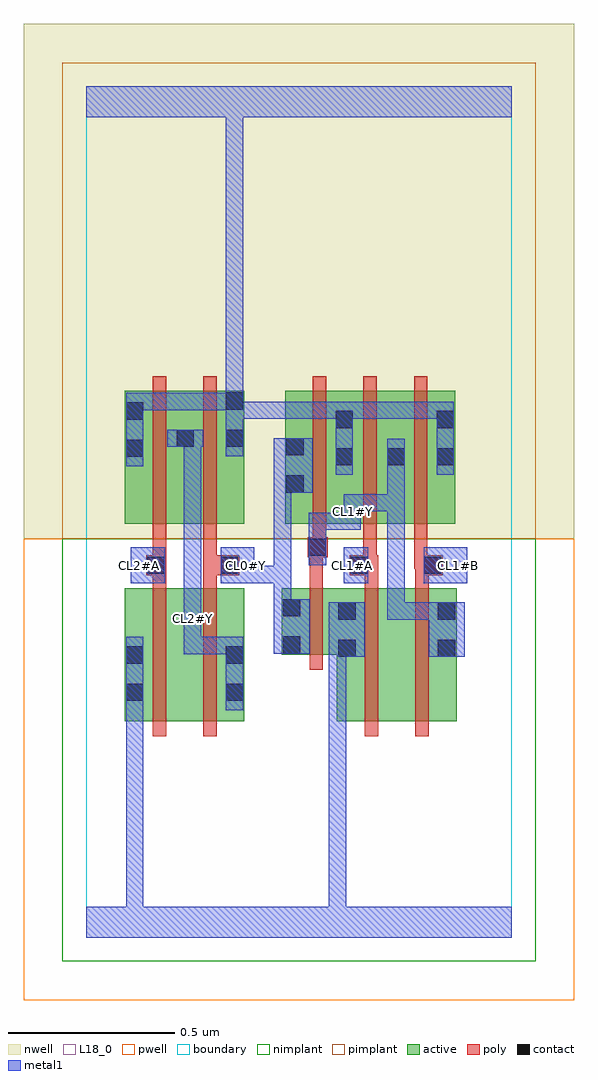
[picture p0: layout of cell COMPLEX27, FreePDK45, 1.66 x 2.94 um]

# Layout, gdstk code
import gdstk
lib = gdstk.Library(unit=1e-6, precision=1e-09)
def R(c, l, rs):  # rectangles x0, y0, x1, y1
    for r in rs: c.add(gdstk.rectangle(r[:2], r[2:], *l))
def A(c, l, x, y, w, h, nx, ny, dx, dy):  # array of equal rectangles
    R(c, l, [(x+i*dx, y+j*dy, x+i*dx+w, y+j*dy+h) for i in range(nx) for j in range(ny)])
active = (1, 0)
pwell = (2, 0)
nwell = (3, 0)
nimplant = (4, 0)
pimplant = (5, 0)
poly = (9, 0)
contact = (10, 0)
metal1 = (11, 0)
L18_0 = (18, 0)
boundary = (235, 0)

complex27 = lib.new_cell('COMPLEX27')
R(complex27, active, [(0.116,0.65,0.296,1.05), (0.116,0.65,0.176,1.05), (0.296,0.65,0.476,1.05), (0.416,0.65,0.476,1.05), (0.754,0.65,0.934,1.05), (0.934,0.65,1.114,1.05), (1.054,0.756,1.114,1.05), (0.754,0.84,0.814,1.028), (0.588,0.85,0.814,1.05), (0.588,0.85,0.648,1.05), (0.116,1.244,0.176,1.644), (0.116,1.244,0.328,1.644), (0.268,1.244,0.476,1.644), (0.416,1.244,0.476,1.644), (0.598,1.244,0.658,1.644), (0.598,1.244,0.806,1.644), (0.746,1.244,0.806,1.644), (0.746,1.244,0.962,1.644), (0.902,1.244,0.962,1.644), (0.902,1.244,1.11,1.644), (1.05,1.244,1.11,1.644), (0.268,1.472,0.328,1.644)])
R(complex27, pwell, [(-0.188,-0.188,1.468,1.2)])
R(complex27, nwell, [(-0.188,1.2,1.468,2.748)])
R(complex27, nimplant, [(-0.072,-0.072,1.352,1.2)])
R(complex27, pimplant, [(-0.072,1.2,1.352,2.632)])
A(complex27, poly, 0.682, 1.2, 0.04, 0.488, 3, 1, 0.152, 0)
R(complex27, poly, [(0.2,0.606,0.24,1.094), (0.352,0.606,0.392,1.094), (0.838,0.606,0.878,1.094), (0.99,0.606,1.03,1.094), (0.672,0.806,0.712,1.094), (0.2,1.054,0.24,1.13), (0.352,1.054,0.392,1.13), (0.672,1.054,0.712,1.184), (0.838,1.054,0.878,1.13), (0.99,1.054,1.03,1.13), (0.18,1.09,0.24,1.15), (0.352,1.09,0.46,1.15), (0.792,1.09,0.878,1.15), (0.99,1.09,1.072,1.15), (0.2,1.11,0.24,1.24), (0.2,1.11,0.24,1.15), (0.2,1.11,0.24,1.15), (0.352,1.11,0.392,1.24), (0.352,1.11,0.392,1.15), (0.352,1.11,0.392,1.15), (0.834,1.11,0.874,1.24), (0.834,1.11,0.874,1.15), (0.834,1.11,0.874,1.15), (0.986,1.11,1.026,1.24), (0.986,1.11,1.03,1.15), (0.99,1.11,1.03,1.15), (0.666,1.144,0.726,1.204), (0.672,1.144,0.712,1.184), (0.672,1.144,0.712,1.184), (0.682,1.164,0.722,1.24), (0.2,1.2,0.24,1.688), (0.352,1.2,0.392,1.688)])
R(complex27, contact, [(0.12,0.712,0.172,0.764), (0.42,0.712,0.472,0.764), (0.12,0.824,0.172,0.876), (0.42,0.824,0.472,0.876), (0.758,0.844,0.81,0.896), (1.058,0.844,1.11,0.896), (0.592,0.854,0.644,0.906), (0.758,0.956,0.81,1.008), (1.058,0.956,1.11,1.008), (0.592,0.966,0.644,1.018), (0.184,1.094,0.236,1.146), (0.404,1.094,0.456,1.146), (0.796,1.094,0.848,1.146), (1.016,1.094,1.068,1.146), (0.67,1.148,0.722,1.2), (0.602,1.338,0.654,1.39), (0.75,1.42,0.802,1.472), (0.906,1.42,0.958,1.472), (1.054,1.42,1.106,1.472), (0.12,1.446,0.172,1.498), (0.602,1.45,0.654,1.502), (0.272,1.476,0.324,1.528), (0.42,1.476,0.472,1.528), (0.75,1.532,0.802,1.584), (1.054,1.532,1.106,1.584), (0.12,1.558,0.172,1.61), (0.42,1.588,0.472,1.64)])
R(complex27, metal1, [(0,0,1.28,0.092), (0.12,0.04,0.172,0.092), (0.12,0.04,0.172,0.092), (0.12,0.04,0.172,0.092), (0.12,0.04,0.172,0.092), (0.12,0.04,0.172,0.092), (0.12,0.04,0.172,0.092), (0.12,0.04,0.172,0.092), (0.12,0.04,0.172,0.092), (0.12,0.04,0.172,0.092), (0.12,0.04,0.172,0.092), (0.12,0.04,0.172,0.092), (0.12,0.04,0.172,0.092), (0.12,0.04,0.172,0.736), (0.73,0.04,0.782,0.092), (0.73,0.04,0.782,0.092), (0.73,0.04,0.782,0.092), (0.73,0.04,0.782,0.092), (0.73,0.04,0.782,0.092), (0.73,0.04,0.782,0.092), (0.73,0.04,0.782,0.092), (0.73,0.04,0.782,0.092), (0.73,0.04,0.782,0.092), (0.73,0.04,0.782,0.092), (0.73,0.04,0.782,0.092), (0.73,0.04,0.782,0.092), (0.73,0.04,0.782,0.896), (0.12,0.684,0.172,0.904), (0.42,0.684,0.472,0.904), (0.73,0.844,0.838,1.008), (1.03,0.844,1.138,1.008), (0.294,0.852,0.346,0.904), (0.294,0.852,0.472,0.904), (0.294,0.852,0.346,0.958), (0.42,0.852,0.472,0.904), (0.42,0.852,0.472,0.904), (0.564,0.854,0.672,1.018), (0.294,0.906,0.346,1.014), (0.906,0.956,0.958,1.008), (0.906,0.956,1.082,1.008), (0.906,0.956,0.958,1.334), (1.03,0.956,1.082,1.008), (1.03,0.956,1.082,1.008), (0.294,0.962,0.346,1.014), (0.294,0.962,0.346,1.014), (0.294,0.962,0.346,1.528), (0.564,0.966,0.616,1.118), (0.134,1.066,0.236,1.174), (0.404,1.066,0.506,1.174), (0.454,1.066,0.506,1.118), (0.454,1.066,0.506,1.118), (0.454,1.066,0.616,1.118), (0.564,1.066,0.616,1.118), (0.564,1.066,0.616,1.39), (0.774,1.066,0.848,1.174), (1.016,1.066,1.146,1.174), (0.67,1.12,0.722,1.278), (0.67,1.226,0.826,1.278), (0.774,1.226,0.826,1.334), (0.774,1.282,0.958,1.334), (0.906,1.282,0.958,1.334), (0.906,1.282,0.958,1.334), (0.906,1.282,0.958,1.334), (0.906,1.282,0.958,1.334), (0.906,1.282,0.958,1.334), (0.906,1.282,0.958,1.444), (0.564,1.338,0.616,1.39), (0.564,1.338,0.616,1.39), (0.564,1.338,0.682,1.502), (0.75,1.392,0.802,1.612), (0.906,1.392,0.958,1.5), (1.054,1.392,1.106,1.612), (0.12,1.418,0.172,1.638), (0.42,1.448,0.472,1.668), (0.244,1.476,0.352,1.528), (0.42,1.56,0.616,1.612), (0.564,1.56,0.616,1.612), (0.564,1.56,0.616,1.612), (0.564,1.56,0.616,1.612), (0.564,1.56,0.802,1.612), (0.75,1.56,0.936,1.612), (0.884,1.56,0.936,1.612), (0.884,1.56,0.936,1.612), (0.884,1.56,0.936,1.612), (0.884,1.56,1.106,1.612), (1.054,1.56,1.106,1.612), (1.054,1.56,1.106,1.612), (0.12,1.586,0.172,1.638), (0.12,1.586,0.172,1.638), (0.12,1.586,0.362,1.638), (0.31,1.586,0.362,1.638), (0.31,1.586,0.362,1.638), (0.31,1.586,0.362,1.638), (0.31,1.586,0.472,1.638), (0.42,1.616,0.472,1.668), (0.42,1.616,0.472,1.668), (0.42,1.616,0.472,1.668), (0.42,1.616,0.472,1.668), (0.42,1.616,0.472,1.668), (0.42,1.616,0.472,1.668), (0.42,1.616,0.472,2.52), (0,2.468,1.28,2.56), (0.42,2.468,0.472,2.52), (0.42,2.468,0.472,2.52), (0.42,2.468,0.472,2.52), (0.42,2.468,0.472,2.52), (0.42,2.468,0.472,2.52), (0.42,2.468,0.472,2.52), (0.42,2.468,0.472,2.52), (0.42,2.468,0.472,2.52), (0.42,2.468,0.472,2.52), (0.42,2.468,0.472,2.52)])
A(complex27, L18_0, 0.134, 1.094, 0.052, 0.052, 4, 1, 0.32, 0)
R(complex27, L18_0, [(0,0,1.28,0.092), (0.12,0.04,0.172,0.092), (0.12,0.04,0.172,0.092), (0.12,0.04,0.172,0.092), (0.12,0.04,0.172,0.092), (0.12,0.04,0.172,0.092), (0.12,0.04,0.172,0.092), (0.12,0.04,0.172,0.092), (0.12,0.04,0.172,0.092), (0.12,0.04,0.172,0.092), (0.12,0.04,0.172,0.092), (0.12,0.04,0.172,0.092), (0.12,0.04,0.172,0.092), (0.12,0.04,0.172,0.736), (0.73,0.04,0.782,0.092), (0.73,0.04,0.782,0.092), (0.73,0.04,0.782,0.092), (0.73,0.04,0.782,0.092), (0.73,0.04,0.782,0.092), (0.73,0.04,0.782,0.092), (0.73,0.04,0.782,0.092), (0.73,0.04,0.782,0.092), (0.73,0.04,0.782,0.092), (0.73,0.04,0.782,0.092), (0.73,0.04,0.782,0.092), (0.73,0.04,0.782,0.092), (0.73,0.04,0.782,0.896), (0.12,0.684,0.172,0.904), (0.42,0.684,0.472,0.904), (0.73,0.844,0.838,1.008), (1.03,0.844,1.138,1.008), (0.294,0.852,0.346,0.904), (0.294,0.852,0.346,0.958), (0.294,0.852,0.472,0.904), (0.42,0.852,0.472,0.904), (0.42,0.852,0.472,0.904), (0.564,0.854,0.672,1.018), (0.294,0.906,0.346,1.014), (0.294,0.934,0.346,0.986), (0.906,0.956,0.958,1.008), (0.906,0.956,0.958,1.334), (0.906,0.956,1.082,1.008), (1.03,0.956,1.082,1.008), (1.03,0.956,1.082,1.008), (0.294,0.962,0.346,1.014), (0.294,0.962,0.346,1.014), (0.294,0.962,0.346,1.528), (0.564,0.966,0.616,1.118), (0.134,1.066,0.236,1.174), (0.404,1.066,0.506,1.174), (0.454,1.066,0.506,1.118), (0.454,1.066,0.506,1.118), (0.454,1.066,0.616,1.118), (0.564,1.066,0.616,1.118), (0.564,1.066,0.616,1.39), (0.774,1.066,0.848,1.174), (1.016,1.066,1.146,1.174), (0.67,1.12,0.722,1.278), (0.67,1.226,0.826,1.278), (0.774,1.226,0.826,1.334), (0.774,1.254,0.826,1.306), (0.774,1.282,0.958,1.334), (0.906,1.282,0.958,1.334), (0.906,1.282,0.958,1.334), (0.906,1.282,0.958,1.334), (0.906,1.282,0.958,1.334), (0.906,1.282,0.958,1.334), (0.906,1.282,0.958,1.444), (0.564,1.338,0.616,1.39), (0.564,1.338,0.616,1.39), (0.564,1.338,0.682,1.502), (0.75,1.392,0.802,1.612), (0.906,1.392,0.958,1.5), (1.054,1.392,1.106,1.612), (0.12,1.418,0.172,1.638), (0.42,1.448,0.472,1.668), (0.244,1.476,0.352,1.528), (0.42,1.56,0.616,1.612), (0.564,1.56,0.616,1.612), (0.564,1.56,0.616,1.612), (0.564,1.56,0.616,1.612), (0.564,1.56,0.802,1.612), (0.75,1.56,0.936,1.612), (0.884,1.56,0.936,1.612), (0.884,1.56,0.936,1.612), (0.884,1.56,0.936,1.612), (0.884,1.56,1.106,1.612), (1.054,1.56,1.106,1.612), (1.054,1.56,1.106,1.612), (0.12,1.586,0.172,1.638), (0.12,1.586,0.172,1.638), (0.12,1.586,0.362,1.638), (0.31,1.586,0.362,1.638), (0.31,1.586,0.362,1.638), (0.31,1.586,0.362,1.638), (0.31,1.586,0.472,1.638), (0.42,1.616,0.472,1.668), (0.42,1.616,0.472,1.668), (0.42,1.616,0.472,1.668), (0.42,1.616,0.472,1.668), (0.42,1.616,0.472,1.668), (0.42,1.616,0.472,1.668), (0.42,1.616,0.472,2.52), (0,2.468,1.28,2.56), (0.42,2.468,0.472,2.52), (0.42,2.468,0.472,2.52), (0.42,2.468,0.472,2.52), (0.42,2.468,0.472,2.52), (0.42,2.468,0.472,2.52), (0.42,2.468,0.472,2.52), (0.42,2.468,0.472,2.52), (0.42,2.468,0.472,2.52), (0.42,2.468,0.472,2.52), (0.42,2.468,0.472,2.52)])
R(complex27, boundary, [(0,0,1.28,2.56)])
complex27.add(gdstk.Label('CL0#Y', (0.48,1.12), layer=11, texttype=0))
complex27.add(gdstk.Label('CL1#A', (0.8,1.12), layer=11, texttype=0))
complex27.add(gdstk.Label('CL1#B', (1.12,1.12), layer=11, texttype=0))
complex27.add(gdstk.Label('CL1#Y', (0.8,1.28), layer=11, texttype=0))
complex27.add(gdstk.Label('CL2#A', (0.16,1.12), layer=11, texttype=0))
complex27.add(gdstk.Label('CL2#Y', (0.32,0.96), layer=11, texttype=0))

lib.write_gds('COMPLEX27.gds')
